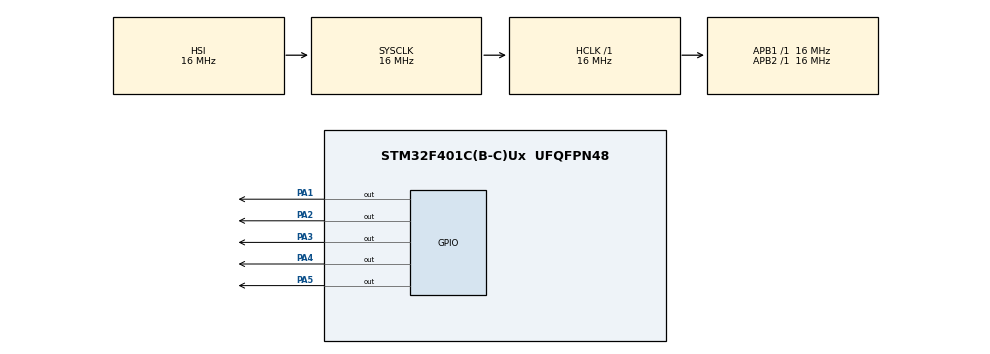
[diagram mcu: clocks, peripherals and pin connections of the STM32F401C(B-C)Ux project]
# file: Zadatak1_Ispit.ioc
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FREERTOS.Tasks01=defaultTask,24,128,StartDefaultTask,Default,NULL,Dynamic,NULL,NULL
FREERTOS.configUSE_NEWLIB_REENTRANT=1
Mcu.Family=STM32F4
Mcu.Name=STM32F401C(B-C)Ux
Mcu.Package=UFQFPN48
NVIC.PriorityGroup=NVIC_PRIORITYGROUP_4
NVIC.TIM1_UP_TIM10_IRQn=true\:15\:0\:false\:false\:true\:false\:false\:true\:true
NVIC.TimeBase=TIM1_UP_TIM10_IRQn
NVIC.TimeBaseIP=TIM1
PA1.Signal=GPIO_Output
PA13.Mode=Serial_Wire
PA13.Signal=SYS_JTMS-SWDIO
PA14.Mode=Serial_Wire
PA14.Signal=SYS_JTCK-SWCLK
PA2.Signal=GPIO_Output
PA3.Signal=GPIO_Output
PA4.Signal=GPIO_Output
PA5.Signal=GPIO_Output
ProjectManager.HeapSize=0x200
ProjectManager.StackSize=0x400
ProjectManager.TargetToolchain=STM32CubeIDE
RCC.AHBFreq_Value=16000000
RCC.APB1Freq_Value=16000000
RCC.APB2Freq_Value=16000000
RCC.CortexFreq_Value=16000000
RCC.HSE_VALUE=25000000
RCC.HSI_VALUE=16000000
RCC.LSE_VALUE=32768
RCC.SYSCLKFreq_VALUE=16000000
RCC.VCOOutputFreq_Value=192000000
VP_FREERTOS_VS_CMSIS_V2.Mode=CMSIS_V2
VP_SYS_VS_tim1.Mode=TIM1
board=custom

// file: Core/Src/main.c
/* USER CODE BEGIN Header */
/**
  ******************************************************************************
  * @file           : main.c
  * @brief          : Main program body
  ******************************************************************************
  * @attention
  *
  * Copyright (c) 2026 STMicroelectronics.
  * All rights reserved.
  *
  * This software is licensed under terms that can be found in the LICENSE file
  * in the root directory of this software component.
  * If no LICENSE file comes with this software, it is provided AS-IS.
  *
  ******************************************************************************
  */
/* USER CODE END Header */
#include "main.h"
#include "cmsis_os.h"

/* USER CODE BEGIN Includes */
#include "FreeRTOS.h"
#include "task.h"
#include "semphr.h"
#include "stm32f4xx_hal.h"
/* USER CODE END Includes */

/* Definitions for defaultTask */
osThreadId_t defaultTaskHandle;
const osThreadAttr_t defaultTask_attributes = {
  .name = "defaultTask",
  .stack_size = 128 * 4,
  .priority = (osPriority_t) osPriorityNormal,
};
/* USER CODE BEGIN PV */

TaskHandle_t zadatak1handle;
TaskHandle_t zadatak2handle;
TaskHandle_t zadatak3handle;

/* USER CODE END PV */

void SystemClock_Config(void);
static void MX_GPIO_Init(void);
void StartDefaultTask(void *argument);

/* USER CODE BEGIN PFP */

void zadatak1(void *nekiParam);
void zadatak2(void *nekiParam);
void zadatak3(void *nekiParam);

/* USER CODE END PFP */

int main(void)
{

  /* MCU Configuration--------------------------------------------------------*/

  /* Reset of all peripherals, Initializes the Flash interface and the Systick. */
  HAL_Init();

  /* Configure the system clock */
  SystemClock_Config();

  /* Initialize all configured peripherals */
  MX_GPIO_Init();

  /* Init scheduler */
  osKernelInitialize();

  /* Create the thread(s) */
  /* creation of defaultTask */
  defaultTaskHandle = osThreadNew(StartDefaultTask, NULL, &defaultTask_attributes);

  /* USER CODE BEGIN RTOS_THREADS */
  /* add threads, ... */

  xTaskCreate(zadatak1, "Zadatak1", 256, NULL, 3, &zadatak1handle);
  xTaskCreate(zadatak2, "Zadatak2", 256, NULL, 1, &zadatak2handle);
  xTaskCreate(zadatak3, "Zadatak3", 256, NULL, 2, &zadatak3handle);

  vTaskSuspend(zadatak2handle);
  vTaskSuspend(zadatak3handle);

  /* USER CODE END RTOS_THREADS */

  /* Start scheduler */
  osKernelStart();

  /* We should never get here as control is now taken by the scheduler */

  /* Infinite loop */
  while (1)
  {

  }
}

void SystemClock_Config(void)
{
  RCC_OscInitTypeDef RCC_OscInitStruct = {0};
  RCC_ClkInitTypeDef RCC_ClkInitStruct = {0};

  /** Configure the main internal regulator output voltage
  */
  __HAL_RCC_PWR_CLK_ENABLE();
  __HAL_PWR_VOLTAGESCALING_CONFIG(PWR_REGULATOR_VOLTAGE_SCALE2);

  /** Initializes the RCC Oscillators according to the specified parameters
  * in the RCC_OscInitTypeDef structure.
  */
  RCC_OscInitStruct.OscillatorType = RCC_OSCILLATORTYPE_HSI;
  RCC_OscInitStruct.HSIState = RCC_HSI_ON;
  RCC_OscInitStruct.HSICalibrationValue = RCC_HSICALIBRATION_DEFAULT;
  RCC_OscInitStruct.PLL.PLLState = RCC_PLL_NONE;
  if (HAL_RCC_OscConfig(&RCC_OscInitStruct) != HAL_OK)
  {
    Error_Handler();
  }

  /** Initializes the CPU, AHB and APB buses clocks
  */
  RCC_ClkInitStruct.ClockType = RCC_CLOCKTYPE_HCLK|RCC_CLOCKTYPE_SYSCLK
                              |RCC_CLOCKTYPE_PCLK1|RCC_CLOCKTYPE_PCLK2;
  RCC_ClkInitStruct.SYSCLKSource = RCC_SYSCLKSOURCE_HSI;
  RCC_ClkInitStruct.AHBCLKDivider = RCC_SYSCLK_DIV1;
  RCC_ClkInitStruct.APB1CLKDivider = RCC_HCLK_DIV1;
  RCC_ClkInitStruct.APB2CLKDivider = RCC_HCLK_DIV1;

  if (HAL_RCC_ClockConfig(&RCC_ClkInitStruct, FLASH_LATENCY_0) != HAL_OK)
  {
    Error_Handler();
  }
}

static void MX_GPIO_Init(void)
{
  GPIO_InitTypeDef GPIO_InitStruct = {0};

  /* GPIO Ports Clock Enable */
  __HAL_RCC_GPIOA_CLK_ENABLE();

  /*Configure GPIO pin Output Level */
  HAL_GPIO_WritePin(GPIOA, GPIO_PIN_1|GPIO_PIN_2|GPIO_PIN_3|GPIO_PIN_4
                          |GPIO_PIN_5, GPIO_PIN_RESET);

  /*Configure GPIO pins : PA1 PA2 PA3 PA4
                           PA5 */
  GPIO_InitStruct.Pin = GPIO_PIN_1|GPIO_PIN_2|GPIO_PIN_3|GPIO_PIN_4
                          |GPIO_PIN_5;
  GPIO_InitStruct.Mode = GPIO_MODE_OUTPUT_PP;
  GPIO_InitStruct.Pull = GPIO_NOPULL;
  GPIO_InitStruct.Speed = GPIO_SPEED_FREQ_LOW;
  HAL_GPIO_Init(GPIOA, &GPIO_InitStruct);

}

/* USER CODE BEGIN 4 */

void zadatak1(void *nekiParam)
{
	for(;;)
	{
		HAL_GPIO_WritePin(GPIOA, GPIO_PIN_1, GPIO_PIN_RESET);  /*ON*/

		vTaskDelay(pdMS_TO_TICKS(500));

		HAL_GPIO_WritePin(GPIOA, GPIO_PIN_1, GPIO_PIN_SET);   /*OFF*/

		vTaskResume(zadatak2handle);                        /*budi task2*/
		vTaskSuspend(NULL);                                 /*cekaj*/
	}
}

void zadatak2(void *nekiParam)
{
	static int krug=0;
	for(;;)
	{
		HAL_GPIO_WritePin(GPIOA, GPIO_PIN_3, GPIO_PIN_RESET);
		vTaskDelay(pdMS_TO_TICKS(500));
		HAL_GPIO_WritePin(GPIOA, GPIO_PIN_3, GPIO_PIN_SET);

		krug++;
		if(krug==1)
		{
			vTaskResume(zadatak1handle);    /*Prvi krug: vrati na Task1*/
		}
		else
		{
			krug=0;
			vTaskResume(zadatak3handle);   /*Drugi krug: idi na Task3*/
		}
		vTaskSuspend(NULL);
	}
}

void zadatak3(void *nekiParam)
{
	static int krug=0;
	for(;;)
	{
		HAL_GPIO_WritePin(GPIOA, GPIO_PIN_5, GPIO_PIN_RESET);
		vTaskDelay(pdMS_TO_TICKS(500));
		HAL_GPIO_WritePin(GPIOA, GPIO_PIN_5, GPIO_PIN_SET);

		krug++;
		if(krug==1)
		{
			vTaskDelay(pdMS_TO_TICKS(500));          /*vTaskSuspend(NULL);*/
		}
		else
		{
			krug=0;
			vTaskResume(zadatak1handle);   /*Vrati se na Task1*/
			vTaskSuspend(NULL);            /*Sada suspendaj Task3*/
		}
	}
}

/* USER CODE END 4 */

void StartDefaultTask(void *argument)
{
  for(;;)
  {
    osDelay(1);
  }
}

void HAL_TIM_PeriodElapsedCallback(TIM_HandleTypeDef *htim)
{
  if (htim->Instance == TIM1)
  {
    HAL_IncTick();
  }
}

void Error_Handler(void)
{
  __disable_irq();
  while (1)
  {
  }
}
